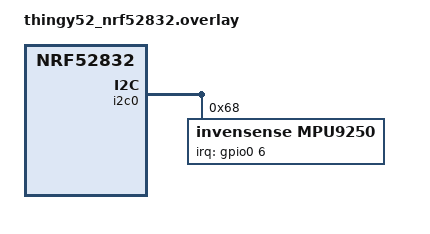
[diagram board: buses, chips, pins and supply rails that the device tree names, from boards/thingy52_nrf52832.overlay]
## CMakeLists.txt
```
#
# Copyright (c) 2021 Nordic Semiconductor
#
# SPDX-License-Identifier: LicenseRef-Nordic-5-Clause
#

cmake_minimum_required(VERSION 3.20.0)

find_package(Zephyr REQUIRED HINTS $ENV{ZEPHYR_BASE})
project(data_forwarder)

# NORDIC SDK APP START
target_sources(app PRIVATE src/main.c)
# NORDIC SDK APP END
```

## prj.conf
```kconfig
# Console on RTT (free the UART)
CONFIG_UART_CONSOLE=n
CONFIG_USE_SEGGER_RTT=y
CONFIG_RTT_CONSOLE=y
CONFIG_LOG=y
CONFIG_LOG_DEFAULT_LEVEL=3

# Bluetooth (NUS peripheral)
CONFIG_BT=y
CONFIG_BT_PERIPHERAL=y
CONFIG_BT_DEVICE_NAME="Thingy52-IMU"
CONFIG_BT_NUS=y
CONFIG_BT_MAX_CONN=1
CONFIG_BT_SETTINGS=n
CONFIG_GPIO=y

# Sensors / I2C
CONFIG_I2C=y
CONFIG_SENSOR=y
# Choose the IMU driver you actually have (enable ONE of these):
CONFIG_MPU9250=y
# CONFIG_LSM6DSL=y

# App / stacks
CONFIG_MAIN_STACK_SIZE=4096
CONFIG_HEAP_MEM_POOL_SIZE=4096

# Float printing (pick one that matches your toolchain setup)
CONFIG_PICOLIBC_IO_FLOAT=y
# or: CONFIG_NEWLIB_LIBC=y
#      CONFIG_NEWLIB_LIBC_FLOAT_PRINTF=y


CONFIG_GPIO_SX1509B=y
```

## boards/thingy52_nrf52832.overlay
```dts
/ {
    aliases {
        imu = &mpu9250;
    };
};

&i2c0 {
    status = "okay";

    mpu9250: mpu9250@68 {
        compatible = "invensense,mpu9250";
        reg = <0x68>;
        status = "okay";

        /* Required by the Zephyr binding (see docs) */
        gyro-sr-div = <19>;      /* 1000/(1+19) ≈ 50 Hz */
        gyro-dlpf   = <41>;      /* legal values per binding */
        gyro-fs     = <500>;     /* dps */
        accel-fs    = <4>;       /* g */
        accel-dlpf  = "44.8";    /* string as per binding */

        /* Thingy:52 MPU_INT is on P0.06 */
        irq-gpios = <&gpio0 6 GPIO_ACTIVE_HIGH>;
    };
};
```

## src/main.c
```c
#include <zephyr/kernel.h>
#include <zephyr/logging/log.h>
#include <zephyr/drivers/sensor.h>
#include <zephyr/drivers/gpio.h>
#include <zephyr/bluetooth/bluetooth.h>
#include <zephyr/bluetooth/conn.h>
#include <bluetooth/services/nus.h>
#include <stdio.h>

LOG_MODULE_REGISTER(app, LOG_LEVEL_INF);

#define SAMPLE_PERIOD_MS 20   // 50 Hz

/* ===== Thingy:52 LED (SX1509B) =====
 * Pins on expander: 5=GREEN, 6=BLUE, 7=RED
 */
#define LED_BLUE   6
#define LED_GREEN  5
#define LED_RED    7

static const struct device *sx1509b;
static struct k_work_delayable adv_blink_work;
static bool adv_led_on;

/* ===== IMU + BLE ===== */
static const struct device *imu;
static struct bt_conn *cur_conn;

/* ---------- LED helpers ---------- */
static int leds_init(void) {
#if DT_HAS_COMPAT_STATUS_OKAY(semtech_sx1509b)
    sx1509b = DEVICE_DT_GET_ANY(semtech_sx1509b);
    if (!sx1509b || !device_is_ready(sx1509b)) {
        LOG_WRN("SX1509B not ready; LED feedback disabled");
        sx1509b = NULL;
        return -ENODEV;
    }
    /* Configure three LED pins as outputs (inactive) */
    gpio_pin_configure(sx1509b, LED_BLUE,  GPIO_OUTPUT_INACTIVE);
    gpio_pin_configure(sx1509b, LED_GREEN, GPIO_OUTPUT_INACTIVE);
    gpio_pin_configure(sx1509b, LED_RED,   GPIO_OUTPUT_INACTIVE);
    return 0;
#else
    LOG_WRN("No semtech,sx1509b in DT; LED feedback disabled");
    return -ENODEV;
#endif
}

static inline void led_set(int pin, int value) {
    if (sx1509b) gpio_pin_set(sx1509b, pin, value);
}

static inline void led_all_off(void) {
    led_set(LED_BLUE, 0);
    led_set(LED_GREEN, 0);
    led_set(LED_RED, 0);
}

/* Advertising blink: toggle BLUE every 200 ms while not connected */
static void adv_blink_fn(struct k_work *work) {
    ARG_UNUSED(work);
    if (!sx1509b || cur_conn) return;     // stop if connected or LED unavailable
    adv_led_on = !adv_led_on;
    led_set(LED_BLUE, adv_led_on);
    k_work_reschedule(&adv_blink_work, K_MSEC(200));
}

/* ---------- BLE callbacks ---------- */
static void connected(struct bt_conn *conn, uint8_t err) {
    if (!err) {
        cur_conn = bt_conn_ref(conn);
        /* stop advertising blink, show brief RED */
        k_work_cancel_delayable(&adv_blink_work);
        led_all_off();
        led_set(LED_RED, 1);
        k_sleep(K_MSEC(50));
        led_set(LED_RED, 0);
        LOG_INF("BLE connected");
    }
}

static void disconnected(struct bt_conn *conn, uint8_t reason) {
    ARG_UNUSED(reason);
    if (cur_conn) { bt_conn_unref(cur_conn); cur_conn = NULL; }
    LOG_INF("BLE disconnected");
    /* resume advertising blink */
    adv_led_on = false;
    led_set(LED_BLUE, 0);
    k_work_reschedule(&adv_blink_work, K_MSEC(200));
}

BT_CONN_CB_DEFINE(conn_callbacks) = {
    .connected = connected,
    .disconnected = disconnected,
};

static int ble_init(void) {
    int err = bt_enable(NULL);
    if (err) return err;

    err = bt_nus_init(NULL);
    if (err) return err;

    const struct bt_data ad[] = {
        BT_DATA_BYTES(BT_DATA_FLAGS, (BT_LE_AD_GENERAL | BT_LE_AD_NO_BREDR)),
        BT_DATA(BT_DATA_NAME_COMPLETE, CONFIG_BT_DEVICE_NAME,
                sizeof(CONFIG_BT_DEVICE_NAME) - 1),
    };
    err = bt_le_adv_start(BT_LE_ADV_CONN, ad, ARRAY_SIZE(ad), NULL, 0);
    if (!err) {
        /* start BLUE blink to indicate advertising */
        adv_led_on = false;
        k_work_reschedule(&adv_blink_work, K_MSEC(200));
    }
    return err;
}

/* ---------- IMU init ---------- */
static int imu_init(void) {
#if DT_HAS_COMPAT_STATUS_OKAY(invensense_mpu9250)
    imu = DEVICE_DT_GET_ANY(invensense_mpu9250);
#elif DT_HAS_COMPAT_STATUS_OKAY(st_lsm6dsl)
    imu = DEVICE_DT_GET_ANY(st_lsm6dsl);
#else
#error "No supported IMU present"
#endif
    if (!imu || !device_is_ready(imu)) {
        LOG_ERR("IMU not ready");
        return -ENODEV;
    }
    return 0;
}

/* ---------- TX sample ---------- */
static int send_sample(void) {
    if (!cur_conn) return -ENOTCONN;

    struct sensor_value ax, ay, az, gx, gy, gz;
    int err = sensor_sample_fetch(imu);
    if (err) return err;

    sensor_channel_get(imu, SENSOR_CHAN_ACCEL_X, &ax);
    sensor_channel_get(imu, SENSOR_CHAN_ACCEL_Y, &ay);
    sensor_channel_get(imu, SENSOR_CHAN_ACCEL_Z, &az);
    sensor_channel_get(imu, SENSOR_CHAN_GYRO_X,  &gx);
    sensor_channel_get(imu, SENSOR_CHAN_GYRO_Y,  &gy);
    sensor_channel_get(imu, SENSOR_CHAN_GYRO_Z,  &gz);

    char line[96];
    int n = snprintk(line, sizeof(line),
        "%.3f,%.3f,%.3f,%.3f,%.3f,%.3f\n",
        sensor_value_to_double(&ax), sensor_value_to_double(&ay),
        sensor_value_to_double(&az), sensor_value_to_double(&gx),
        sensor_value_to_double(&gy), sensor_value_to_double(&gz));
    if (n <= 0) return -EIO;

    err = bt_nus_send(cur_conn, line, n);
    /* quick GREEN tick on successful TX */
    if (!err && sx1509b) {
        led_set(LED_GREEN, 1);
        /* 5 ms is visible but won’t impact the 20 ms loop */
        k_sleep(K_MSEC(5));
        led_set(LED_GREEN, 0);
    }
    return err;
}

/* ---------- main ---------- */
int main(void) {
    /* LED first, so you get visible life-signs even if BLE/IMU fails */
    leds_init();
    k_work_init_delayable(&adv_blink_work, adv_blink_fn);

    if (ble_init()) { LOG_ERR("BLE init failed"); return -1; }
    if (imu_init()) { LOG_ERR("IMU init failed"); return -1; }
    LOG_INF("Ready. Advertising & waiting for BLE central...");

    int64_t next = k_uptime_get() + SAMPLE_PERIOD_MS;
    while (1) {
        if (cur_conn) {
            int err = send_sample();
            if (err && err != -ENOTCONN) {
                LOG_WRN("send_sample err %d", err);
            }
        }
        int64_t now = k_uptime_get();
        if (next <= now) {
            next = now + SAMPLE_PERIOD_MS;
        } else {
            k_sleep(K_MSEC(next - now));
            next += SAMPLE_PERIOD_MS;
        }
    }
}
```
